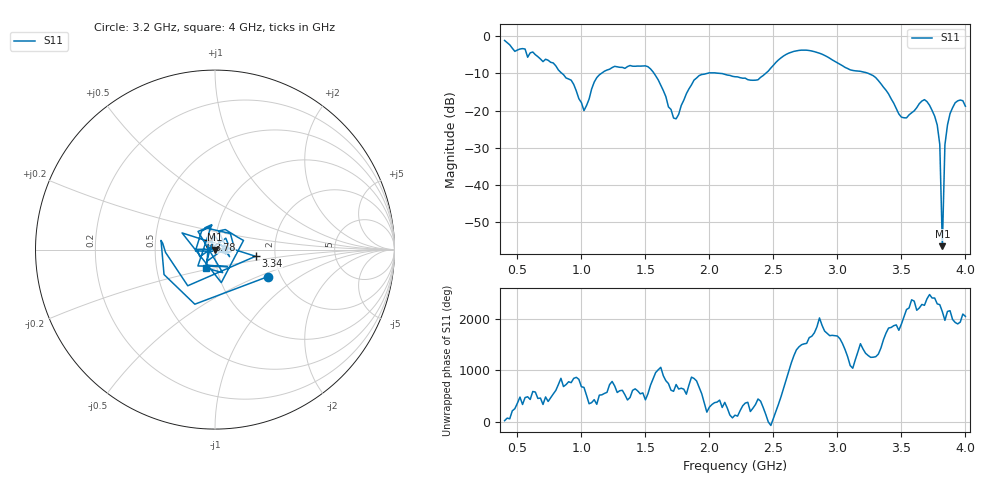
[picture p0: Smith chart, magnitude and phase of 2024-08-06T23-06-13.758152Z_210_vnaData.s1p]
!Created with skrf (http://scikit-rf.org).
# Hz S RI R 50.0
!freq ReS11 ImS11
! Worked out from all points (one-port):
!   181 points, 400 MHz to 4 GHz, reference 50 ohm
!   lowest |S11| = -56.4 dB at 3.82 GHz (marker M1), VSWR 1.00, Z = 50.1 - j0.0672 ohm
!   |S11| at or under -10 dB: 1.567 GHz to 1.987 GHz (420.2 MHz wide, 23.6 % of centre); 2.075 GHz to 2.441 GHz (365.8 MHz wide, 16.2 % of centre); 3.24 GHz to end of sweep (the widest 3 of 4)
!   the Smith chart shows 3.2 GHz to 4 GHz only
!   S11 on the Smith chart (normalised r, x): 3.2 GHz: 1.70, -0.58; 3.34 GHz: 1.58, -0.12; 3.78 GHz: 0.92, +0.10; 4 GHz: 0.89, -0.19
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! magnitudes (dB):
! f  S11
! 400 MHz  -1.2
! 860 MHz  -10.4
! 940 MHz  -13.0
! 1.02 GHz  -20.0
! 1.12 GHz  -11.2
! 1.3 GHz  -8.4
! 1.52 GHz  -8.2
! 1.6 GHz  -11.8
! 1.72 GHz  -22.0
! 1.76 GHz  -21.0
! 1.92 GHz  -10.6
! 2.2 GHz  -10.9
! 2.38 GHz  -11.7
! 2.66 GHz  -4.1
! 2.86 GHz  -4.6
! 3.1 GHz  -9.1
! 3.2 GHz  -9.6
! 3.34 GHz  -12.8
! 3.5 GHz  -21.8
! 3.56 GHz  -21.2
! 3.68 GHz  -17.1
! 3.78 GHz  -23.9
! 3.8 GHz  -29.1
! 3.82 GHz  -56.4
! 3.84 GHz  -29.2
! 3.86 GHz  -23.9
! 3.92 GHz  -17.9
! 4 GHz  -18.8
